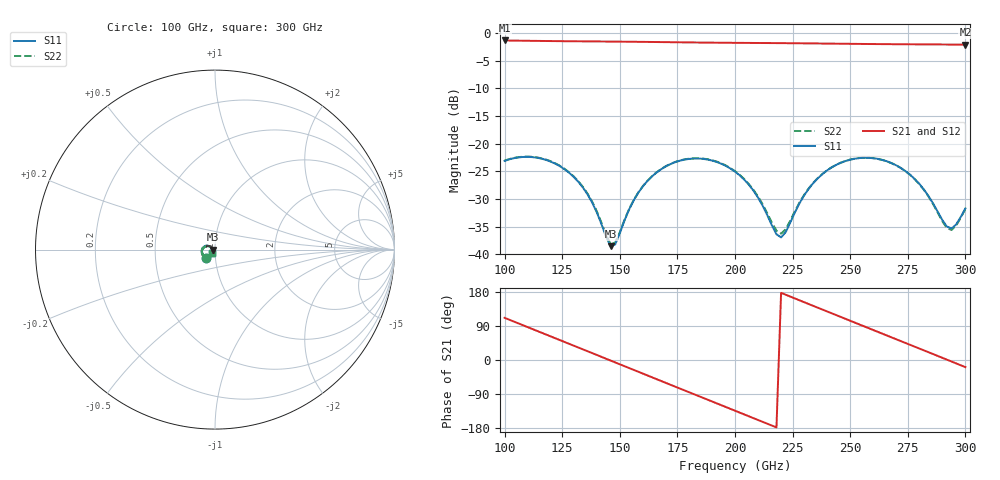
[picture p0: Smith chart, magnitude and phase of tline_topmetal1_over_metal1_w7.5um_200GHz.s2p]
#  GHZ S DB R 50
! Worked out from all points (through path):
!   101 points, 100 GHz to 300 GHz, reference 50 ohm
!   highest |S21| = -1.37 dB at 100 GHz (marker M1); lowest = -2.1 dB at 300 GHz (marker M2)
!   group delay of S21, straight-line fit = 6.81 ps
!   lowest |S11| = -38.5 dB at 146 GHz (marker M3), VSWR 1.02, Z = 48.8 - j0.0957 ohm
!   |S11| at or under -10 dB: start of sweep to end of sweep
!   |S22| runs from -38.1 to -22.3 dB; largest |S21 - S12| = 9.6e-14
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100  -23.12 -138.6  -1.37 111.3  -1.37 111.3  -23.07 -137.8
108  -22.41 -156.7  -1.41 91.7  -1.41 91.7  -22.36 -155.9
116  -22.71 -174.6  -1.46 72.1  -1.46 72.1  -22.65 -173.7
126  -24.62 164.4  -1.50 47.6  -1.50 47.6  -24.54 165.4
134  -27.94 151.1  -1.53 28.0  -1.53 28.0  -27.83 152.3
146  -38.52 -175.3  -1.56 -1.4  -1.56 -1.4  -38.11 -174.8
148  -38.21 -149.7  -1.57 -6.4  -1.57 -6.4  -37.87 -150.4
158  -28.89 -120.9  -1.61 -30.9  -1.61 -30.9  -28.83 -120.9
168  -24.61 -136.3  -1.66 -55.5  -1.66 -55.5  -24.57 -135.8
176  -23.09 -152.2  -1.70 -75.1  -1.70 -75.1  -23.05 -151.5
184  -22.69 -168.7  -1.74 -94.7  -1.74 -94.7  -22.64 -167.9
200  -25.06 160.2  -1.79 -133.8  -1.79 -133.8  -24.97 161.5
210  -29.74 148.9  -1.82 -158.3  -1.82 -158.3  -29.56 150.9
220  -36.93 -166.1  -1.85 177.2  -1.85 177.2  -36.26 -166.6
234  -27.12 -129.7  -1.90 142.8  -1.90 142.8  -27.06 -130.6
244  -23.83 -145.5  -1.95 118.3  -1.95 118.3  -23.81 -145.9
252  -22.72 -160.8  -1.98 98.7  -1.98 98.7  -22.71 -161.0
268  -23.53 168.5  -2.04 59.6  -2.04 59.6  -23.54 168.3
280  -27.27 151.1  -2.07 30.3  -2.07 30.3  -27.32 150.7
292  -34.99 175.4  -2.10 0.8  -2.10 0.8  -35.25 175.4
296  -34.59 -153.8  -2.11 -9.0  -2.11 -9.0  -34.79 -152.7
300  -31.71 -137.1  -2.12 -18.8  -2.12 -18.8  -31.79 -136.0
